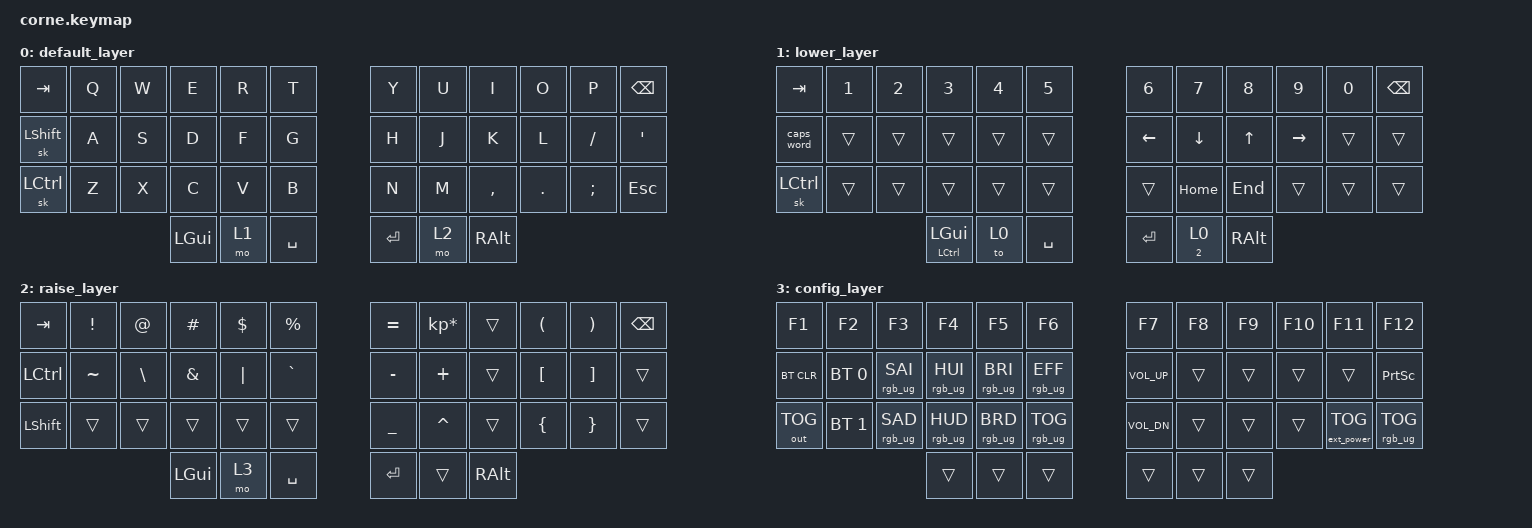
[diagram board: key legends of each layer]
/*
 * Copyright (c) 2020 The ZMK Contributors
 *
 * SPDX-License-Identifier: MIT
 */

#include <behaviors.dtsi>
#include <dt-bindings/zmk/keys.h>
#include <dt-bindings/zmk/bt.h>
#include <dt-bindings/zmk/rgb.h>
#include <dt-bindings/zmk/ext_power.h>
#include <dt-bindings/zmk/outputs.h>
#include <../boards/shields/corne/boards/nice_nano.overlay>

// Overwrite number of leds on the keyboard. A Corne has 27 per side.
&led_strip { chain-length = <27>; };

// Overwrite the display cs pin
// This have to be comment out for the right side.
&nice_view_spi {
  cs-gpios = <&pro_micro 0 GPIO_ACTIVE_HIGH>;
};

/ {
    behaviors {
        mth: my_tolayer_hold {
            compatible = "zmk,behavior-hold-tap";
            label = "MY_TOLAYER_HOLD";
            #binding-cells = <2>;
            flavor = "tap-preferred";
            tapping-term-ms = <200>;
            quick-tap-ms = <125>;
            bindings = <&kp>, <&to>;
        };

        mll: my_holdlater_tolayer {
            compatible = "zmk,behavior-hold-tap";
            label = "MY_HOLDLAYER_TOHOLD";
            #binding-cells = <2>;
            flavor = "hold-preferred";
            tapping-term-ms = <400>;
            quick-tap-ms = <200>;
            bindings = <&kp>, <&to>;
        };
    };

    keymap {
        compatible = "zmk,keymap";

        default_layer {
            // -----------------------------------------------------------------------------------------
            // |  TAB |  Q  |  W  |  E  |  R  |  T  |   |  Y  |  U   |  I   |  O  |  P  | BKSP |
            // | SHFT |  A  |  S  |  D  |  F  |  G  |   |  H  |  J   |  K   |  L  |  /  |  '   |
            // | CTRL |  Z  |  X  |  C  |  V  |  B  |   |  N  |  M   |  ,   |  .  |  ;  | ESC  |
            //                    | GUI | LWR | SPC |   | ENT | RSE  |  ALT |
            bindings = <
                &kp TAB   &kp Q &kp W &kp E &kp R &kp T    &kp Y &kp U  &kp I     &kp O   &kp P    &kp BSPC
                &sk LSHFT &kp A &kp S &kp D &kp F &kp G    &kp H &kp J  &kp K     &kp L   &kp FSLH &kp SQT
                &sk LCTRL &kp Z &kp X &kp C &kp V &kp B    &kp N &kp M  &kp COMMA &kp DOT &kp SEMI &kp ESC
                                &kp LGUI &mo 1 &kp SPACE   &kp RET &mo 2 &kp RALT
            >;
        };

        lower_layer {
            // -----------------------------------------------------------------------------------------
            // |  TAB |  1  |  2  |  3  |  4  |  5  |   |  6  |  7  |  8  |  9  |  0   | BKSP |
            // | CAPS |     |     |     |     |     |   | LFT | DWN |  UP | RGT |      |      |
            // | CTRL |     |     |     |     |     |   | HOME| END |     |     |      |      |
            //                    | GUI | DFL | SPC |   | ENT |     | ALT |
            bindings = <
                &kp TAB    &kp N1   &kp N2  &kp N3  &kp N4  &kp N5  &kp N6    &kp N7   &kp N8     &kp N9    &kp N0 &kp BSPC
                &caps_word &trans   &trans  &trans  &trans  &trans  &kp LEFT  &kp DOWN &kp UP     &kp RIGHT &trans &trans
                &sk LCTRL  &trans   &trans  &trans  &trans  &trans  &trans    &kp HOME &kp END    &trans    &trans &trans
                                        &mt LCTRL LGUI  &to 0   &kp SPACE     &kp RET  &mll 2 0   &kp RALT
            >;
        };

        raise_layer {
            // -----------------------------------------------------------------------------------------
            // | TAB  |  !  |  @  |  #  |  $  |  %  |   |  =  |  *  |    |  (  |  )  | BKSP |
            // | CTRL |  ~  |  \  |  &  | "|" |  `  |   |  +  |  -  |    |  [  |  ]  |     |
            // | SHFT |     |     |     |     |     |   |  ^  |  _  |    |  {  |  }  |     |
            //                    | GUI |     | SPC |   | ENT |     | ALT |
            bindings = <
                &kp TAB   &kp EXCL  &kp AT   &kp HASH &kp DLLR &kp PRCNT   &kp EQUAL &kp KP_MULTIPLY &trans &kp LPAR  &kp RPAR &kp BSPC
                &kp LCTRL &kp TILDE &kp BSLH &kp AMPS &kp PIPE &kp GRAVE   &kp MINUS &kp PLUS        &trans &kp LBKT  &kp RBKT &trans
                &kp LSHFT &trans    &trans   &trans   &trans   &trans      &kp UNDER &kp CARET       &trans &kp LBRC  &kp RBRC &trans
                                             &kp LGUI &mo 3    &kp SPACE   &kp RET   &trans          &kp RALT
            >;
        };

        config_layer {
            // -----------------------------------------------------------------------------------------
            // |   F1   | F2  | F3  | F4  | F5  | F6  |   | F7   |  F8 |  F9 | F10 | F11     | F12         |
            // | BTCLR  | B1  | SAI | HUI | BR+ | EFF |   | VOL+ |     |     |     |         | PRINTSCREEN |
            // |  OUT   | B2  | SAD | HUD | BR- | RGB |   | VOL- |     |     |     | RGB OFF |  RGB_TOG    |
            //                      | GUI |     | SPC |   | ENT  |     | ALT |
            bindings = <
                &kp F1        &kp F2        &kp F3           &kp F4           &kp F5           &kp F6            &kp F7        &kp F8  &kp F9  &kp F10 &kp F11           &kp F12
                &bt BT_CLR    &bt BT_SEL 0  &rgb_ug RGB_SAI  &rgb_ug RGB_HUI  &rgb_ug RGB_BRI  &rgb_ug RGB_EFF   &kp C_VOL_UP  &trans  &trans  &trans  &trans            &kp PRINTSCREEN
                &out OUT_TOG  &bt BT_SEL 1  &rgb_ug RGB_SAD  &rgb_ug RGB_HUD  &rgb_ug RGB_BRD  &rgb_ug RGB_TOG   &kp C_VOL_DN  &trans  &trans  &trans  &ext_power EP_TOG &rgb_ug RGB_TOG
                                                             &trans           &trans           &trans            &trans        &trans  &trans
            >;
        };
    };
};
